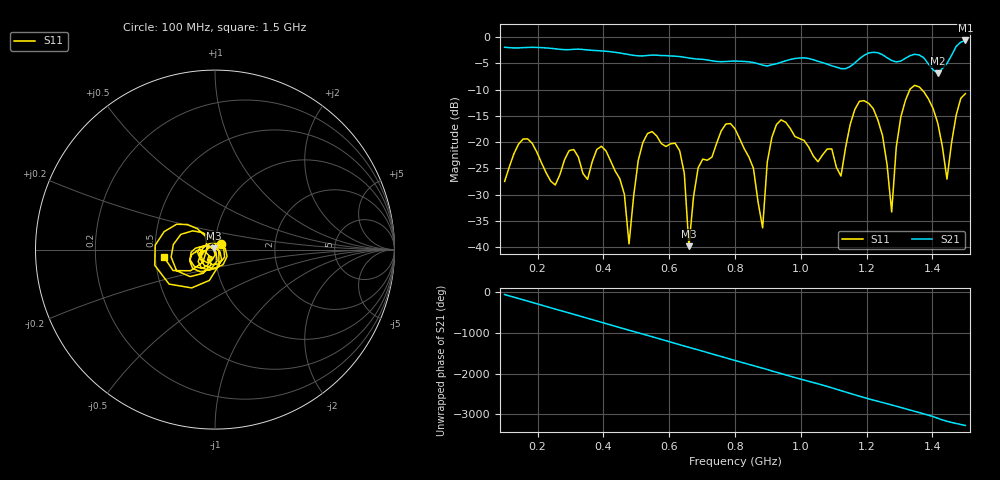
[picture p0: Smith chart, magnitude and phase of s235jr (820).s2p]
! NanoVNA-App
! Date: 2025-09-25 15:10:33
! Start: 100MHz Stop: 1,5GHz Points: 101
! S-Parameter data: F S11 S21 S12 S22
# Hz S RI R 50
!  Frequency  S11_Real  S11_Imag  S21_Real  S21_Imag  S12_Real  S12_Imag  S22_Real  S22_Imag
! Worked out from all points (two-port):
!   101 points, 100 MHz to 1.5 GHz, reference 50 ohm
!   highest |S21| = -0.67 dB at 1.5 GHz (marker M1); lowest = -6.9 dB at 1.416 GHz (marker M2)
!   |S21| within 3 dB of the highest: start of sweep to 619.5 MHz; 1.189 GHz to 1.255 GHz (66.6 MHz wide, 5.45 % of centre) (the widest 2 of 4)
!   lowest |S11| = -39.8 dB at 660 MHz (marker M3), VSWR 1.02, Z = 49.2 + j0.623 ohm
!   |S11| at or under -10 dB: start of sweep to 1.331 GHz; 1.367 GHz to end of sweep
!   S12 and S22 are empty: the file has one direction only
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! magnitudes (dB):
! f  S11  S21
! 100 MHz  -27.5  -2.0
! 156 MHz  -19.4  -2.0
! 338 MHz  -26.0  -2.4
! 408 MHz  -21.7  -2.7
! 478 MHz  -39.3  -3.4
! 520 MHz  -20.1  -3.6
! 576 MHz  -20.3  -3.5
! 632 MHz  -21.6  -3.7
! 660 MHz  -39.8  -4.0
! 688 MHz  -24.9  -4.2
! 800 MHz  -17.5  -4.6
! 884 MHz  -36.3  -5.4
! 926 MHz  -16.7  -5.1
! 1.038 GHz  -22.6  -4.3
! 1.122 GHz  -26.4  -6.0
! 1.206 GHz  -12.6  -3.1
! 1.276 GHz  -33.3  -4.5
! 1.29 GHz  -20.9  -4.7
! 1.332 GHz  -9.9  -3.6
! 1.416 GHz  -16.4  -6.9
! 1.444 GHz  -27.0  -5.1
! 1.5 GHz  -10.8  -0.7
